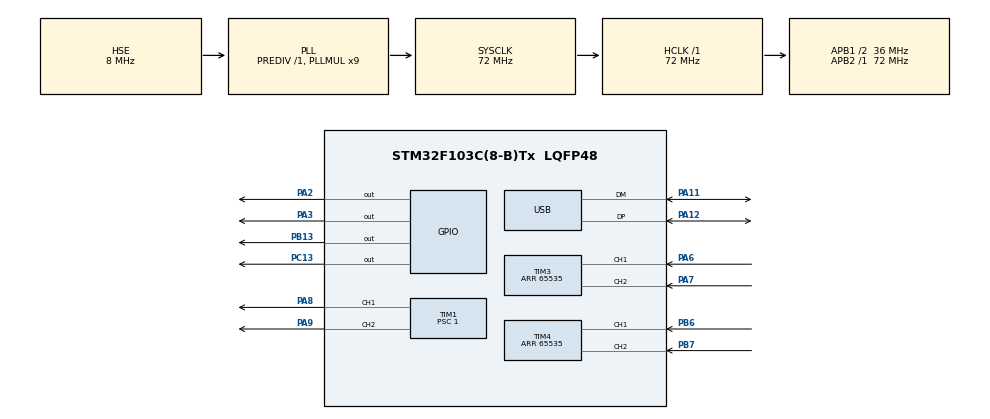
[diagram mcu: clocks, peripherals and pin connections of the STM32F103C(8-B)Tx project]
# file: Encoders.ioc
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Mcu.Family=STM32F1
Mcu.Name=STM32F103C(8-B)Tx
Mcu.Package=LQFP48
NVIC.PriorityGroup=NVIC_PRIORITYGROUP_4
NVIC.TIM2_IRQn=true\:1\:0\:true\:false\:true\:true
NVIC.USB_LP_CAN1_RX0_IRQn=true\:0\:0\:false\:false\:true\:false
PA11.Mode=Device
PA11.Signal=USB_DM
PA12.Mode=Device
PA12.Signal=USB_DP
PA13.Mode=Serial_Wire
PA13.Signal=SYS_JTMS-SWDIO
PA14.Mode=Serial_Wire
PA14.Signal=SYS_JTCK-SWCLK
PA2.Signal=GPIO_Output
PA3.Signal=GPIO_Output
PA6.Signal=S_TIM3_CH1
PA7.Signal=S_TIM3_CH2
PA8.Signal=S_TIM1_CH1
PA9.Signal=S_TIM1_CH2
PB13.GPIO_Speed=GPIO_SPEED_FREQ_HIGH
PB13.PinState=GPIO_PIN_SET
PB13.Signal=GPIO_Output
PB6.Signal=S_TIM4_CH1
PB7.Signal=S_TIM4_CH2
PC13-TAMPER-RTC.Signal=GPIO_Output
PD0-OSC_IN.Mode=HSE-External-Oscillator
PD0-OSC_IN.Signal=RCC_OSC_IN
PD1-OSC_OUT.Mode=HSE-External-Oscillator
PD1-OSC_OUT.Signal=RCC_OSC_OUT
ProjectManager.HeapSize=0x200
ProjectManager.StackSize=0x400
ProjectManager.TargetToolchain=SW4STM32
RCC.AHBFreq_Value=72000000
RCC.APB1CLKDivider=RCC_HCLK_DIV2
RCC.APB1Freq_Value=36000000
RCC.APB1TimFreq_Value=72000000
RCC.APB2Freq_Value=72000000
RCC.APB2TimFreq_Value=72000000
RCC.HCLKFreq_Value=72000000
RCC.PLLMUL=RCC_PLL_MUL9
RCC.SYSCLKFreq_VALUE=72000000
RCC.SYSCLKSource=RCC_SYSCLKSOURCE_PLLCLK
RCC.USBFreq_Value=48000000
RCC.USBPrescaler=RCC_USBCLKSOURCE_PLL_DIV1_5
SH.S_TIM1_CH1.0=TIM1_CH1,PWM Generation1 CH1
SH.S_TIM1_CH2.0=TIM1_CH2,PWM Generation2 CH2
SH.S_TIM3_CH1.0=TIM3_CH1,Encoder_Interface
SH.S_TIM3_CH2.0=TIM3_CH2,Encoder_Interface
SH.S_TIM4_CH1.0=TIM4_CH1,Encoder_Interface
SH.S_TIM4_CH2.0=TIM4_CH2,Encoder_Interface
TIM1.Channel-PWM\ Generation1\ CH1=TIM_CHANNEL_1
TIM1.Channel-PWM\ Generation2\ CH2=TIM_CHANNEL_2
TIM1.Period=65535
TIM1.Prescaler=1
TIM1.Pulse-PWM\ Generation1\ CH1=8191
TIM1.Pulse-PWM\ Generation2\ CH2=8191
TIM2.ClockDivision=TIM_CLOCKDIVISION_DIV1
TIM2.Period=199
TIM2.Prescaler=35999
TIM3.EncoderMode=TIM_ENCODERMODE_TI12
TIM3.Period=65535
TIM4.EncoderMode=TIM_ENCODERMODE_TI12
TIM4.Period=65535
USB_DEVICE.CLASS_NAME_FS=CDC
USB_DEVICE.VirtualMode=Cdc
USB_DEVICE.VirtualModeFS=Cdc_FS
VP_TIM1_VS_ClockSourceINT.Mode=Internal
VP_TIM2_VS_ClockSourceINT.Mode=Internal
VP_USB_DEVICE_VS_USB_DEVICE_CDC_FS.Mode=CDC_FS
board=custom

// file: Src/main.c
/**
  ******************************************************************************
  * @file           : main.c
  * @brief          : Main program body
  ******************************************************************************
  * This notice applies to any and all portions of this file
  * that are not between comment pairs USER CODE BEGIN and
  * USER CODE END. Other portions of this file, whether
  * inserted by the user or by software development tools
  * are owned by their respective copyright owners.
  *
  * Copyright (c) 2018 STMicroelectronics International N.V.
  * All rights reserved.
  *
  * Redistribution and use in source and binary forms, with or without
  * modification, are permitted, provided that the following conditions are met:
  *
  * 1. Redistribution of source code must retain the above copyright notice,
  *    this list of conditions and the following disclaimer.
  * 2. Redistributions in binary form must reproduce the above copyright notice,
  *    this list of conditions and the following disclaimer in the documentation
  *    and/or other materials provided with the distribution.
  * 3. Neither the name of STMicroelectronics nor the names of other
  *    contributors to this software may be used to endorse or promote products
  *    derived from this software without specific written permission.
  * 4. This software, including modifications and/or derivative works of this
  *    software, must execute solely and exclusively on microcontroller or
  *    microprocessor devices manufactured by or for STMicroelectronics.
  * 5. Redistribution and use of this software other than as permitted under
  *    this license is void and will automatically terminate your rights under
  *    this license.
  *
  * THIS SOFTWARE IS PROVIDED BY STMICROELECTRONICS AND CONTRIBUTORS "AS IS"
  * AND ANY EXPRESS, IMPLIED OR STATUTORY WARRANTIES, INCLUDING, BUT NOT
  * LIMITED TO, THE IMPLIED WARRANTIES OF MERCHANTABILITY, FITNESS FOR A
  * PARTICULAR PURPOSE AND NON-INFRINGEMENT OF THIRD PARTY INTELLECTUAL PROPERTY
  * RIGHTS ARE DISCLAIMED TO THE FULLEST EXTENT PERMITTED BY LAW. IN NO EVENT
  * SHALL STMICROELECTRONICS OR CONTRIBUTORS BE LIABLE FOR ANY DIRECT, INDIRECT,
  * INCIDENTAL, SPECIAL, EXEMPLARY, OR CONSEQUENTIAL DAMAGES (INCLUDING, BUT NOT
  * LIMITED TO, PROCUREMENT OF SUBSTITUTE GOODS OR SERVICES; LOSS OF USE, DATA,
  * OR PROFITS; OR BUSINESS INTERRUPTION) HOWEVER CAUSED AND ON ANY THEORY OF
  * LIABILITY, WHETHER IN CONTRACT, STRICT LIABILITY, OR TORT (INCLUDING
  * NEGLIGENCE OR OTHERWISE) ARISING IN ANY WAY OUT OF THE USE OF THIS SOFTWARE,
  * EVEN IF ADVISED OF THE POSSIBILITY OF SUCH DAMAGE.
  *
  ******************************************************************************
  */
#include "main.h"
#include "usb_device.h"
#include "stm32f1xx_hal.h"
#include "pid/pid_controller.h"

TIM_HandleTypeDef htim1;
TIM_HandleTypeDef htim2;
TIM_HandleTypeDef htim3;
TIM_HandleTypeDef htim4;

/* USER CODE BEGIN PV */
/* Private variables ---------------------------------------------------------*/
PIDControl pidl;
PIDControl pidr;
#define kP 2
#define kI 0
#define kD 0
#define SAMPLE_TIME 1.0/10.0
uint16_t pwm_mp = 500;
char txbuffer[256];
char rxbuffer[256];
float spl, spr = 0;
float encl, encr;
PIDData data;
int data1 = 0;
		int data2 = 0;
/* USER CODE END PV */

void SystemClock_Config(void);
static void MX_GPIO_Init(void);
static void MX_TIM4_Init(void);
static void MX_TIM3_Init(void);
static void MX_TIM2_Init(void);
static void MX_TIM1_Init(void);
void HAL_TIM_MspPostInit(TIM_HandleTypeDef *htim);

/* USER CODE BEGIN PFP */
/* Private function prototypes -----------------------------------------------*/

/* USER CODE END PFP */

/* USER CODE BEGIN 0 */
void setPWM(int l, int r) {
	int32_t d_left = l * pwm_mp;
	int32_t d_right = r * pwm_mp;

	// У�?тановка направлени�? в зави�?имо�?ти от знака значени�?
	uint8_t dir1 = (d_left < 0) ? GPIO_PIN_RESET : GPIO_PIN_SET;
	uint8_t dir2 = (d_right < 0) ? GPIO_PIN_SET : GPIO_PIN_RESET;
	  HAL_GPIO_WritePin(GPIOA, GPIO_PIN_2, dir1);
	  HAL_GPIO_WritePin(GPIOA, GPIO_PIN_3, dir2);
	d_left = abs(d_left);
	d_right = abs(d_right);

	d_left = (data1 > 65530) ? 65530 : d_left;
	d_right = (data2 > 65530) ? 65530 : d_right;

	// У�?тановка �?кважно�?ти ШИМ - 0-65535
	__HAL_TIM_SET_COMPARE(&htim1, TIM_CHANNEL_1, d_left);
	__HAL_TIM_SET_COMPARE(&htim1, TIM_CHANNEL_2, d_right);

	// До�?тавка �?ведений об у�?тановке ча�?тоты в кон�?ольку
	sprintf(rxbuffer, "set val: %5ld, %5ld dir: %d, %d - %d %d enc delta: %d %d\n", d_left, d_right, dir1,
		dir2, data1, data2, data.encl, data.encr);
	CDC_Transmit_FS((uint8_t *) rxbuffer, strlen(rxbuffer));
}

/* USER CODE END 0 */

int main(void)
{

  /* MCU Configuration----------------------------------------------------------*/

  /* Reset of all peripherals, Initializes the Flash interface and the Systick. */
  HAL_Init();

  /* Configure the system clock */
  SystemClock_Config();

  /* Initialize all configured peripherals */
  MX_GPIO_Init();
  MX_TIM4_Init();
  MX_TIM3_Init();
  MX_USB_DEVICE_Init();
  MX_TIM2_Init();
  MX_TIM1_Init();
  /* USER CODE BEGIN 2 */
  // Запу�?к таймеров
	HAL_TIM_Encoder_Start(&htim4, TIM_CHANNEL_ALL);
	HAL_TIM_Encoder_Start(&htim3, TIM_CHANNEL_ALL);
	HAL_TIM_PWM_Start(&htim1, TIM_CHANNEL_1);
	HAL_TIM_PWM_Start(&htim1, TIM_CHANNEL_2);
	HAL_TIM_Base_Start_IT(&htim2);

	// У�?тановка первоначальных значений ШИМ, чтоб никуда не уехало заранее.
	__HAL_TIM_SET_COMPARE(&htim1, TIM_CHANNEL_1, 0);
	__HAL_TIM_SET_COMPARE(&htim1, TIM_CHANNEL_2, 0);
	PIDInit(&pidl, kP, kI, kD, SAMPLE_TIME, -100, 100, AUTOMATIC, DIRECT);
	PIDInit(&pidr, kP, kI, kD, SAMPLE_TIME, -100, 100, AUTOMATIC, DIRECT);
	// Буффер приема по CDC, который ви�?ит на прерывани�?х USB
	extern char UserRxBufferFS[1024];

	// значени�? �?нкодеров
	// TODO: set unsigned int
	int32_t cap_left = 0, cap_right = 0;
	HAL_GPIO_WritePin(GPIOB, GPIO_PIN_13, GPIO_PIN_RESET);
  /* USER CODE END 2 */

  /* Infinite loop */
	while (1) {

  /* USER CODE BEGIN 3 */
		// Считываем �?о�?то�?ни�? �?четчиков, выводим �?одержимое
		cap_left = TIM4->CNT;
		cap_right = TIM3->CNT;
		// sprintf(rxbuffer, "encoder: %5ld, %5ld\n", capture, capture1);
		// CDC_Transmit_FS((uint8_t *) rxbuffer, strlen(rxbuffer));
		data.encl = cap_left;
		data.encr = cap_right;

		uint16_t counter = (uint16_t) strlen((char *) UserRxBufferFS);
		// е�?ли в буфере е�?ть новые данные, то пар�?им их по формату <a,b>

		if (counter) {
			strncpy(txbuffer, (char *) UserRxBufferFS, counter);
			memset(UserRxBufferFS, 0, counter);

			char * st = strstr(txbuffer, "<");
			char * en = strstr(txbuffer, ">");
			char * mid = strstr(txbuffer, ",");

			char tmp_left[16];
			char tmp_right[16];

			strncpy(tmp_left, st+1, mid - st - 1);
			tmp_left[mid - st - 1] = '\0';
			strncpy(tmp_right, mid+1, en - mid -1);
			tmp_right[en - mid -1] = '\0';

			data1 = atoi(tmp_left);
			data2 = atoi(tmp_right);
			data.spdl = data1;
			data.spdr = data2;
			//setPWM(data1, data2);
			// получаем новые значени�? �?коро�?тей, выводим подтверждение получени�?.

			//sprintf(rxbuffer, "get: %5d, %5d\n", data1, data2);

			// CDC_Transmit_FS((uint8_t *) rxbuffer, strlen(rxbuffer));

			// у�?танавливаем ШИМ на нужную �?коро�?ть
			// TODO: ПИД регул�?тор должен вызывать�?�? по прерыванию, задача шим должна быть в нем

			memset(txbuffer, 0, counter);
		}
		HAL_Delay(100);
	}

  /* USER CODE END 3 */

}

void SystemClock_Config(void)
{

  RCC_OscInitTypeDef RCC_OscInitStruct;
  RCC_ClkInitTypeDef RCC_ClkInitStruct;
  RCC_PeriphCLKInitTypeDef PeriphClkInit;

    /**Initializes the CPU, AHB and APB busses clocks
    */
  RCC_OscInitStruct.OscillatorType = RCC_OSCILLATORTYPE_HSE;
  RCC_OscInitStruct.HSEState = RCC_HSE_ON;
  RCC_OscInitStruct.HSEPredivValue = RCC_HSE_PREDIV_DIV1;
  RCC_OscInitStruct.HSIState = RCC_HSI_ON;
  RCC_OscInitStruct.PLL.PLLState = RCC_PLL_ON;
  RCC_OscInitStruct.PLL.PLLSource = RCC_PLLSOURCE_HSE;
  RCC_OscInitStruct.PLL.PLLMUL = RCC_PLL_MUL9;
  if (HAL_RCC_OscConfig(&RCC_OscInitStruct) != HAL_OK)
  {
    _Error_Handler(__FILE__, __LINE__);
  }

    /**Initializes the CPU, AHB and APB busses clocks
    */
  RCC_ClkInitStruct.ClockType = RCC_CLOCKTYPE_HCLK|RCC_CLOCKTYPE_SYSCLK
                              |RCC_CLOCKTYPE_PCLK1|RCC_CLOCKTYPE_PCLK2;
  RCC_ClkInitStruct.SYSCLKSource = RCC_SYSCLKSOURCE_PLLCLK;
  RCC_ClkInitStruct.AHBCLKDivider = RCC_SYSCLK_DIV1;
  RCC_ClkInitStruct.APB1CLKDivider = RCC_HCLK_DIV2;
  RCC_ClkInitStruct.APB2CLKDivider = RCC_HCLK_DIV1;

  if (HAL_RCC_ClockConfig(&RCC_ClkInitStruct, FLASH_LATENCY_2) != HAL_OK)
  {
    _Error_Handler(__FILE__, __LINE__);
  }

  PeriphClkInit.PeriphClockSelection = RCC_PERIPHCLK_USB;
  PeriphClkInit.UsbClockSelection = RCC_USBCLKSOURCE_PLL_DIV1_5;
  if (HAL_RCCEx_PeriphCLKConfig(&PeriphClkInit) != HAL_OK)
  {
    _Error_Handler(__FILE__, __LINE__);
  }

    /**Configure the Systick interrupt time
    */
  HAL_SYSTICK_Config(HAL_RCC_GetHCLKFreq()/1000);

    /**Configure the Systick
    */
  HAL_SYSTICK_CLKSourceConfig(SYSTICK_CLKSOURCE_HCLK);

  /* SysTick_IRQn interrupt configuration */
  HAL_NVIC_SetPriority(SysTick_IRQn, 0, 0);
}

/* TIM1 init function */
static void MX_TIM1_Init(void)
{

  TIM_ClockConfigTypeDef sClockSourceConfig;
  TIM_MasterConfigTypeDef sMasterConfig;
  TIM_OC_InitTypeDef sConfigOC;
  TIM_BreakDeadTimeConfigTypeDef sBreakDeadTimeConfig;

  htim1.Instance = TIM1;
  htim1.Init.Prescaler = 1;
  htim1.Init.CounterMode = TIM_COUNTERMODE_UP;
  htim1.Init.Period = 65535;
  htim1.Init.ClockDivision = TIM_CLOCKDIVISION_DIV1;
  htim1.Init.RepetitionCounter = 0;
  htim1.Init.AutoReloadPreload = TIM_AUTORELOAD_PRELOAD_DISABLE;
  if (HAL_TIM_Base_Init(&htim1) != HAL_OK)
  {
    _Error_Handler(__FILE__, __LINE__);
  }

  sClockSourceConfig.ClockSource = TIM_CLOCKSOURCE_INTERNAL;
  if (HAL_TIM_ConfigClockSource(&htim1, &sClockSourceConfig) != HAL_OK)
  {
    _Error_Handler(__FILE__, __LINE__);
  }

  if (HAL_TIM_PWM_Init(&htim1) != HAL_OK)
  {
    _Error_Handler(__FILE__, __LINE__);
  }

  sMasterConfig.MasterOutputTrigger = TIM_TRGO_RESET;
  sMasterConfig.MasterSlaveMode = TIM_MASTERSLAVEMODE_DISABLE;
  if (HAL_TIMEx_MasterConfigSynchronization(&htim1, &sMasterConfig) != HAL_OK)
  {
    _Error_Handler(__FILE__, __LINE__);
  }

  sConfigOC.OCMode = TIM_OCMODE_PWM1;
  sConfigOC.Pulse = 8191;
  sConfigOC.OCPolarity = TIM_OCPOLARITY_HIGH;
  sConfigOC.OCNPolarity = TIM_OCNPOLARITY_HIGH;
  sConfigOC.OCFastMode = TIM_OCFAST_DISABLE;
  sConfigOC.OCIdleState = TIM_OCIDLESTATE_RESET;
  sConfigOC.OCNIdleState = TIM_OCNIDLESTATE_RESET;
  if (HAL_TIM_PWM_ConfigChannel(&htim1, &sConfigOC, TIM_CHANNEL_1) != HAL_OK)
  {
    _Error_Handler(__FILE__, __LINE__);
  }

  if (HAL_TIM_PWM_ConfigChannel(&htim1, &sConfigOC, TIM_CHANNEL_2) != HAL_OK)
  {
    _Error_Handler(__FILE__, __LINE__);
  }

  sBreakDeadTimeConfig.OffStateRunMode = TIM_OSSR_DISABLE;
  sBreakDeadTimeConfig.OffStateIDLEMode = TIM_OSSI_DISABLE;
  sBreakDeadTimeConfig.LockLevel = TIM_LOCKLEVEL_OFF;
  sBreakDeadTimeConfig.DeadTime = 0;
  sBreakDeadTimeConfig.BreakState = TIM_BREAK_DISABLE;
  sBreakDeadTimeConfig.BreakPolarity = TIM_BREAKPOLARITY_HIGH;
  sBreakDeadTimeConfig.AutomaticOutput = TIM_AUTOMATICOUTPUT_DISABLE;
  if (HAL_TIMEx_ConfigBreakDeadTime(&htim1, &sBreakDeadTimeConfig) != HAL_OK)
  {
    _Error_Handler(__FILE__, __LINE__);
  }

  HAL_TIM_MspPostInit(&htim1);

}

/* TIM2 init function */
static void MX_TIM2_Init(void)
{

  TIM_ClockConfigTypeDef sClockSourceConfig;
  TIM_MasterConfigTypeDef sMasterConfig;

  htim2.Instance = TIM2;
  htim2.Init.Prescaler = 35999;
  htim2.Init.CounterMode = TIM_COUNTERMODE_UP;
  htim2.Init.Period = 199;
  htim2.Init.ClockDivision = TIM_CLOCKDIVISION_DIV1;
  htim2.Init.AutoReloadPreload = TIM_AUTORELOAD_PRELOAD_DISABLE;
  if (HAL_TIM_Base_Init(&htim2) != HAL_OK)
  {
    _Error_Handler(__FILE__, __LINE__);
  }

  sClockSourceConfig.ClockSource = TIM_CLOCKSOURCE_INTERNAL;
  if (HAL_TIM_ConfigClockSource(&htim2, &sClockSourceConfig) != HAL_OK)
  {
    _Error_Handler(__FILE__, __LINE__);
  }

  sMasterConfig.MasterOutputTrigger = TIM_TRGO_RESET;
  sMasterConfig.MasterSlaveMode = TIM_MASTERSLAVEMODE_DISABLE;
  if (HAL_TIMEx_MasterConfigSynchronization(&htim2, &sMasterConfig) != HAL_OK)
  {
    _Error_Handler(__FILE__, __LINE__);
  }

}

/* TIM3 init function */
static void MX_TIM3_Init(void)
{

  TIM_Encoder_InitTypeDef sConfig;
  TIM_MasterConfigTypeDef sMasterConfig;

  htim3.Instance = TIM3;
  htim3.Init.Prescaler = 0;
  htim3.Init.CounterMode = TIM_COUNTERMODE_UP;
  htim3.Init.Period = 65535;
  htim3.Init.ClockDivision = TIM_CLOCKDIVISION_DIV1;
  htim3.Init.AutoReloadPreload = TIM_AUTORELOAD_PRELOAD_DISABLE;
  sConfig.EncoderMode = TIM_ENCODERMODE_TI12;
  sConfig.IC1Polarity = TIM_ICPOLARITY_RISING;
  sConfig.IC1Selection = TIM_ICSELECTION_DIRECTTI;
  sConfig.IC1Prescaler = TIM_ICPSC_DIV1;
  sConfig.IC1Filter = 0;
  sConfig.IC2Polarity = TIM_ICPOLARITY_RISING;
  sConfig.IC2Selection = TIM_ICSELECTION_DIRECTTI;
  sConfig.IC2Prescaler = TIM_ICPSC_DIV1;
  sConfig.IC2Filter = 0;
  if (HAL_TIM_Encoder_Init(&htim3, &sConfig) != HAL_OK)
  {
    _Error_Handler(__FILE__, __LINE__);
  }

  sMasterConfig.MasterOutputTrigger = TIM_TRGO_RESET;
  sMasterConfig.MasterSlaveMode = TIM_MASTERSLAVEMODE_DISABLE;
  if (HAL_TIMEx_MasterConfigSynchronization(&htim3, &sMasterConfig) != HAL_OK)
  {
    _Error_Handler(__FILE__, __LINE__);
  }

}

/* TIM4 init function */
static void MX_TIM4_Init(void)
{

  TIM_Encoder_InitTypeDef sConfig;
  TIM_MasterConfigTypeDef sMasterConfig;

  htim4.Instance = TIM4;
  htim4.Init.Prescaler = 0;
  htim4.Init.CounterMode = TIM_COUNTERMODE_UP;
  htim4.Init.Period = 65535;
  htim4.Init.ClockDivision = TIM_CLOCKDIVISION_DIV1;
  htim4.Init.AutoReloadPreload = TIM_AUTORELOAD_PRELOAD_DISABLE;
  sConfig.EncoderMode = TIM_ENCODERMODE_TI12;
  sConfig.IC1Polarity = TIM_ICPOLARITY_RISING;
  sConfig.IC1Selection = TIM_ICSELECTION_DIRECTTI;
  sConfig.IC1Prescaler = TIM_ICPSC_DIV1;
  sConfig.IC1Filter = 0;
  sConfig.IC2Polarity = TIM_ICPOLARITY_RISING;
  sConfig.IC2Selection = TIM_ICSELECTION_DIRECTTI;
  sConfig.IC2Prescaler = TIM_ICPSC_DIV1;
  sConfig.IC2Filter = 0;
  if (HAL_TIM_Encoder_Init(&htim4, &sConfig) != HAL_OK)
  {
    _Error_Handler(__FILE__, __LINE__);
  }

  sMasterConfig.MasterOutputTrigger = TIM_TRGO_RESET;
  sMasterConfig.MasterSlaveMode = TIM_MASTERSLAVEMODE_DISABLE;
  if (HAL_TIMEx_MasterConfigSynchronization(&htim4, &sMasterConfig) != HAL_OK)
  {
    _Error_Handler(__FILE__, __LINE__);
  }

}

/** Configure pins as
        * Analog
        * Input
        * Output
        * EVENT_OUT
        * EXTI
*/
static void MX_GPIO_Init(void)
{

  GPIO_InitTypeDef GPIO_InitStruct;

  /* GPIO Ports Clock Enable */
  __HAL_RCC_GPIOC_CLK_ENABLE();
  __HAL_RCC_GPIOD_CLK_ENABLE();
  __HAL_RCC_GPIOA_CLK_ENABLE();
  __HAL_RCC_GPIOB_CLK_ENABLE();

  /*Configure GPIO pin Output Level */
  HAL_GPIO_WritePin(GPIOC, GPIO_PIN_13, GPIO_PIN_RESET);

  /*Configure GPIO pin Output Level */
  HAL_GPIO_WritePin(GPIOA, GPIO_PIN_2|GPIO_PIN_3, GPIO_PIN_RESET);

  /*Configure GPIO pin Output Level */
  HAL_GPIO_WritePin(GPIOB, GPIO_PIN_13, GPIO_PIN_SET);

  /*Configure GPIO pin : PC13 */
  GPIO_InitStruct.Pin = GPIO_PIN_13;
  GPIO_InitStruct.Mode = GPIO_MODE_OUTPUT_PP;
  GPIO_InitStruct.Pull = GPIO_NOPULL;
  GPIO_InitStruct.Speed = GPIO_SPEED_FREQ_LOW;
  HAL_GPIO_Init(GPIOC, &GPIO_InitStruct);

  /*Configure GPIO pins : PA2 PA3 */
  GPIO_InitStruct.Pin = GPIO_PIN_2|GPIO_PIN_3;
  GPIO_InitStruct.Mode = GPIO_MODE_OUTPUT_PP;
  GPIO_InitStruct.Pull = GPIO_NOPULL;
  GPIO_InitStruct.Speed = GPIO_SPEED_FREQ_LOW;
  HAL_GPIO_Init(GPIOA, &GPIO_InitStruct);

  /*Configure GPIO pin : PB13 */
  GPIO_InitStruct.Pin = GPIO_PIN_13;
  GPIO_InitStruct.Mode = GPIO_MODE_OUTPUT_PP;
  GPIO_InitStruct.Pull = GPIO_NOPULL;
  GPIO_InitStruct.Speed = GPIO_SPEED_FREQ_HIGH;
  HAL_GPIO_Init(GPIOB, &GPIO_InitStruct);

}

void _Error_Handler(char *file, int line)
{
	while (1) {
	}
}

/************************ (C) COPYRIGHT STMicroelectronics *****END OF FILE****/
